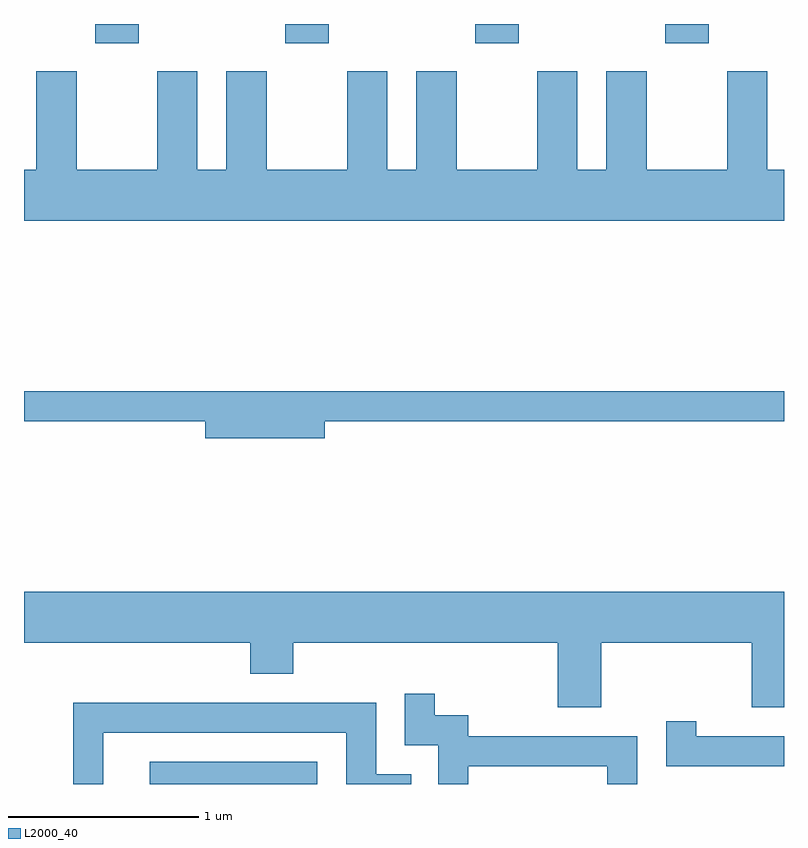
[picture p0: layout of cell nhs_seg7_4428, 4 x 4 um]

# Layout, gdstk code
import gdstk
lib = gdstk.Library(unit=1e-6, precision=1e-09)
def R(c, l, rs):  # rectangles x0, y0, x1, y1
    for r in rs: c.add(gdstk.rectangle(r[:2], r[2:], *l))
def A(c, l, x, y, w, h, nx, ny, dx, dy):  # array of equal rectangles
    R(c, l, [(x+i*dx, y+j*dy, x+i*dx+w, y+j*dy+h) for i in range(nx) for j in range(ny)])
def P(c, l, *ps):  # polygons
    for p in ps: c.add(gdstk.Polygon(p, *l))
L2000_40 = (2000, 40)

nhs_seg7_4428 = lib.new_cell('nhs_seg7_4428')
A(nhs_seg7_4428, L2000_40, 321.986, 1704.151, 0.228, 0.101, 4, 1, 1, 0)
R(nhs_seg7_4428, L2000_40, [(322.273,1700.252,323.154,1700.369)])
P(nhs_seg7_4428, L2000_40, [(324.676,1704.004),(324.676,1703.484),(324.524,1703.484),(324.524,1704.004),(324.311,1704.004),(324.311,1703.484),(323.889,1703.484),(323.889,1704.004),(323.676,1704.004),(323.676,1703.484),(323.524,1703.484),(323.524,1704.004),(323.311,1704.004),(323.311,1703.484),(322.889,1703.484),(322.889,1704.004),(322.676,1704.004),(322.676,1703.484),(322.524,1703.484),(322.524,1704.004),(322.311,1704.004),(322.311,1703.484),(321.889,1703.484),(321.889,1704.004),(321.676,1704.004),(321.676,1703.484),(321.611,1703.484),(321.611,1703.216),(325.611,1703.216),(325.611,1703.484),(325.524,1703.484),(325.524,1704.004),(325.311,1704.004),(325.311,1703.484),(324.889,1703.484),(324.889,1704.004)],
  [(323.194,1702.161),(325.611,1702.161),(325.611,1702.319),(321.611,1702.319),(321.611,1702.161),(322.566,1702.161),(322.566,1702.071),(323.194,1702.071)],
  [(324.649,1700.996),(325.441,1700.996),(325.441,1700.656),(325.611,1700.656),(325.611,1701.264),(321.611,1701.264),(321.611,1700.996),(322.801,1700.996),(322.801,1700.831),(323.029,1700.831),(323.029,1700.996),(324.421,1700.996),(324.421,1700.656),(324.649,1700.656)],
  [(323.949,1700.346),(324.681,1700.346),(324.681,1700.252),(324.839,1700.252),(324.839,1700.504),(323.949,1700.504),(323.949,1700.614),(323.774,1700.614),(323.774,1700.728),(323.616,1700.728),(323.616,1700.456),(323.791,1700.456),(323.791,1700.252),(323.949,1700.252)],
  [(322.029,1700.521),(323.306,1700.521),(323.306,1700.252),(323.648,1700.252),(323.648,1700.304),(323.464,1700.304),(323.464,1700.679),(321.871,1700.679),(321.871,1700.252),(322.029,1700.252)],
  [(325.611,1700.504),(325.149,1700.504),(325.149,1700.583),(324.991,1700.583),(324.991,1700.346),(325.611,1700.346)])

lib.write_gds('nhs_seg7_4428.gds')
